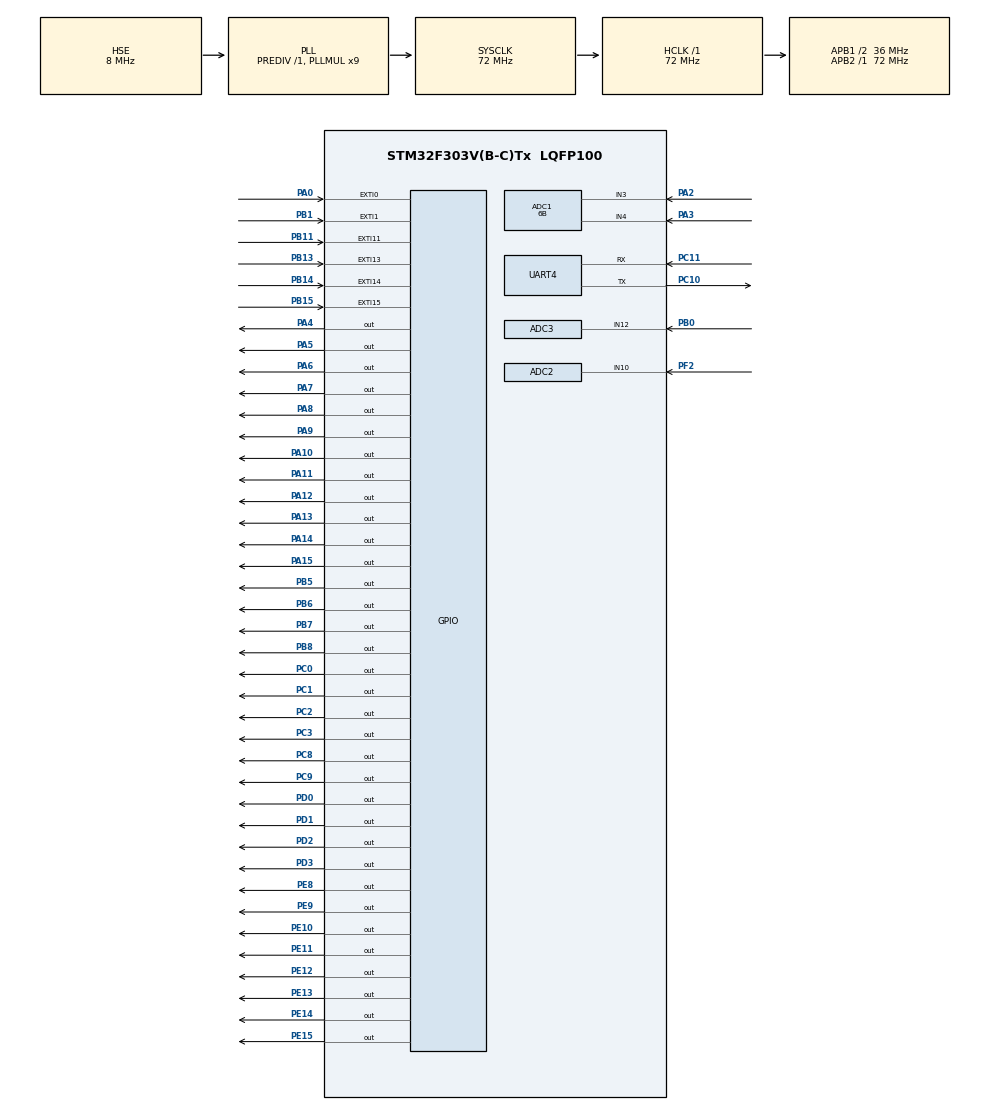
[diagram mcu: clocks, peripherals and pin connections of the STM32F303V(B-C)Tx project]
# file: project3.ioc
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ADC1.Channel-3\#ChannelRegularConversion=ADC_CHANNEL_4
ADC1.ClockPrescaler=ADC_CLOCK_ASYNC_DIV1
ADC1.ContinuousConvMode=DISABLE
ADC1.DMAContinuousRequests=DISABLE
ADC1.DataAlign=ADC_DATAALIGN_RIGHT
ADC1.DiscontinuousConvMode=DISABLE
ADC1.EOCSelection=ADC_EOC_SINGLE_CONV
ADC1.EnableAnalogWatchDog1=false
ADC1.EnableAnalogWatchDog2=false
ADC1.EnableAnalogWatchDog3=false
ADC1.EnableInjectedConversion=ENABLE
ADC1.EnableRegularConversion=ENABLE
ADC1.ExternalTrigConv=ADC_SOFTWARE_START
ADC1.ExternalTrigConvEdge=ADC_EXTERNALTRIGCONVEDGE_NONE
ADC1.InjNumberOfConversion=0
ADC1.LowPowerAutoWait=DISABLE
ADC1.NbrOfConversion=1
ADC1.NbrOfConversionFlag=1
ADC1.Offset-3\#ChannelRegularConversion=0
ADC1.OffsetNumber-3\#ChannelRegularConversion=ADC_OFFSET_NONE
ADC1.Overrun=ADC_OVR_DATA_OVERWRITTEN
ADC1.Rank-3\#ChannelRegularConversion=1
ADC1.Resolution=ADC_RESOLUTION_6B
ADC1.SamplingTime-3\#ChannelRegularConversion=ADC_SAMPLETIME_601CYCLES_5
ADC1.ScanConvMode=ADC_SCAN_DISABLE
ADC1.master=1
ADC2.Channel-0\#ChannelRegularConversion=ADC_CHANNEL_10
ADC2.ClockPrescaler=ADC_CLOCK_ASYNC_DIV1
ADC2.ContinuousConvMode=DISABLE
ADC2.DMAContinuousRequests=DISABLE
ADC2.DataAlign=ADC_DATAALIGN_RIGHT
ADC2.DiscontinuousConvMode=DISABLE
ADC2.EOCSelection=ADC_EOC_SINGLE_CONV
ADC2.EnableAnalogWatchDog1=false
ADC2.EnableAnalogWatchDog2=false
ADC2.EnableAnalogWatchDog3=false
ADC2.EnableInjectedConversion=ENABLE
ADC2.EnableRegularConversion=ENABLE
ADC2.ExternalTrigConv=ADC_SOFTWARE_START
ADC2.ExternalTrigConvEdge=ADC_EXTERNALTRIGCONVEDGE_NONE
ADC2.InjNumberOfConversion=0
ADC2.LowPowerAutoWait=DISABLE
ADC2.NbrOfConversion=1
ADC2.NbrOfConversionFlag=1
ADC2.Offset-0\#ChannelRegularConversion=0
ADC2.OffsetNumber-0\#ChannelRegularConversion=ADC_OFFSET_NONE
ADC2.Overrun=ADC_OVR_DATA_OVERWRITTEN
ADC2.Rank-0\#ChannelRegularConversion=1
ADC2.Resolution=ADC_RESOLUTION_12B
ADC2.SamplingTime-0\#ChannelRegularConversion=ADC_SAMPLETIME_601CYCLES_5
ADC2.ScanConvMode=ADC_SCAN_DISABLE
ADC3.Channel-0\#ChannelRegularConversion=ADC_CHANNEL_12
ADC3.ClockPrescaler=ADC_CLOCK_ASYNC_DIV1
ADC3.ContinuousConvMode=DISABLE
ADC3.DMAContinuousRequests=DISABLE
ADC3.DataAlign=ADC_DATAALIGN_RIGHT
ADC3.DiscontinuousConvMode=DISABLE
ADC3.EOCSelection=ADC_EOC_SINGLE_CONV
ADC3.EnableAnalogWatchDog1=false
ADC3.EnableAnalogWatchDog2=false
ADC3.EnableAnalogWatchDog3=false
ADC3.EnableInjectedConversion=ENABLE
ADC3.EnableRegularConversion=ENABLE
ADC3.ExternalTrigConv=ADC_SOFTWARE_START
ADC3.ExternalTrigConvEdge=ADC_EXTERNALTRIGCONVEDGE_NONE
ADC3.InjNumberOfConversion=0
ADC3.LowPowerAutoWait=DISABLE
ADC3.NbrOfConversion=1
ADC3.NbrOfConversionFlag=1
ADC3.Offset-0\#ChannelRegularConversion=0
ADC3.OffsetNumber-0\#ChannelRegularConversion=ADC_OFFSET_NONE
ADC3.Overrun=ADC_OVR_DATA_OVERWRITTEN
ADC3.Rank-0\#ChannelRegularConversion=1
ADC3.Resolution=ADC_RESOLUTION_12B
ADC3.SamplingTime-0\#ChannelRegularConversion=ADC_SAMPLETIME_601CYCLES_5
ADC3.ScanConvMode=ADC_SCAN_DISABLE
ADC3.master=1
Mcu.Family=STM32F3
Mcu.Name=STM32F303V(B-C)Tx
Mcu.Package=LQFP100
NVIC.ADC1_2_IRQn=true\:6\:0\:true\:false\:true\:true
NVIC.ADC3_IRQn=true\:4\:0\:true\:false\:true\:true
NVIC.EXTI0_IRQn=true\:0\:0\:false\:false\:true\:true
NVIC.EXTI15_10_IRQn=true\:2\:0\:true\:false\:true\:true
NVIC.EXTI1_IRQn=true\:0\:0\:false\:false\:true\:true
NVIC.PriorityGroup=NVIC_PRIORITYGROUP_3
NVIC.TIM1_UP_TIM16_IRQn=true\:4\:0\:true\:false\:true\:true
NVIC.TIM6_DAC_IRQn=true\:3\:0\:true\:false\:true\:true
NVIC.TIM7_IRQn=true\:1\:0\:true\:false\:true\:true
NVIC.UART4_IRQn=true\:0\:0\:false\:false\:true\:true
PA0.GPIO_ModeDefaultEXTI=GPIO_MODE_IT_RISING
PA0.GPIO_PuPd=GPIO_PULLDOWN
PA0.Signal=GPXTI0
PA10.Signal=GPIO_Output
PA11.Signal=GPIO_Output
PA12.Signal=GPIO_Output
PA13.Signal=GPIO_Output
PA14.Signal=GPIO_Output
PA15.Signal=GPIO_Output
PA2.Mode=IN3-Single-Ended
PA2.Signal=ADC1_IN3
PA3.Mode=IN4-Single-Ended
PA3.Signal=ADC1_IN4
PA4.Signal=GPIO_Output
PA5.Signal=GPIO_Output
PA6.Signal=GPIO_Output
PA7.Signal=GPIO_Output
PA8.Signal=GPIO_Output
PA9.Signal=GPIO_Output
PB0.Mode=IN12-Single-Ended
PB0.Signal=ADC3_IN12
PB1.GPIO_PuPd=GPIO_PULLDOWN
PB1.Signal=GPXTI1
PB11.GPIO_PuPd=GPIO_PULLDOWN
PB11.Signal=GPXTI11
PB13.GPIO_PuPd=GPIO_PULLDOWN
PB13.Signal=GPXTI13
PB14.GPIO_PuPd=GPIO_PULLDOWN
PB14.Signal=GPXTI14
PB15.GPIO_PuPd=GPIO_PULLDOWN
PB15.Signal=GPXTI15
PB5.Signal=GPIO_Output
PB6.Signal=GPIO_Output
PB7.Signal=GPIO_Output
PB8.Signal=GPIO_Output
PC0.Signal=GPIO_Output
PC1.Signal=GPIO_Output
PC10.Mode=Asynchronous
PC10.Signal=UART4_TX
PC11.Mode=Asynchronous
PC11.Signal=UART4_RX
PC2.Signal=GPIO_Output
PC3.Signal=GPIO_Output
PC8.Signal=GPIO_Output
PC9.Signal=GPIO_Output
PD0.Signal=GPIO_Output
PD1.Signal=GPIO_Output
PD12.Signal=TSC_G8_IO1
PD2.Signal=GPIO_Output
PD3.Signal=GPIO_Output
PE10.Signal=GPIO_Output
PE11.Signal=GPIO_Output
PE12.Signal=GPIO_Output
PE13.Signal=GPIO_Output
PE14.Signal=GPIO_Output
PE15.Signal=GPIO_Output
PE8.Signal=GPIO_Output
PE9.Signal=GPIO_Output
PF0-OSC_IN.Mode=HSE-External-Oscillator
PF0-OSC_IN.Signal=RCC_OSC_IN
PF1-OSC_OUT.Mode=HSE-External-Oscillator
PF1-OSC_OUT.Signal=RCC_OSC_OUT
PF2.Signal=ADCx_IN10
ProjectManager.HeapSize=0x200
ProjectManager.StackSize=0x400
ProjectManager.TargetToolchain=MDK-ARM V5
RCC.AHBFreq_Value=72000000
RCC.APB1CLKDivider=RCC_HCLK_DIV2
RCC.APB1Freq_Value=36000000
RCC.APB1TimFreq_Value=72000000
RCC.APB2Freq_Value=72000000
RCC.APB2TimFreq_Value=72000000
RCC.CortexFreq_Value=72000000
RCC.HCLKFreq_Value=72000000
RCC.HSE_VALUE=8000000
RCC.HSI_VALUE=8000000
RCC.LSE_VALUE=32768
RCC.PLLMUL=RCC_PLL_MUL9
RCC.PLLSourceVirtual=RCC_PLLSOURCE_HSE
RCC.SYSCLKFreq_VALUE=72000000
RCC.SYSCLKSourceVirtual=RCC_SYSCLKSOURCE_PLLCLK
RCC.USBFreq_Value=72000000
SH.ADCx_IN10.0=ADC2_IN10,IN10-Single-Ended
TIM16.Period=7
TIM16.Prescaler=36999
TIM6.Period=1999
TIM6.Prescaler=35999
TIM7.Period=719
TIM7.Prescaler=12499
VP_CRC_VS_CRC.Mode=CRC_Activate
VP_RTC_VS_RTC_Activate.Mode=RTC_Enabled
VP_RTC_VS_RTC_Calendar.Mode=RTC_Calendar
VP_TIM16_VS_ClockSourceINT.Mode=Enable_Timer
VP_TIM6_VS_ClockSourceINT.Mode=Enable_Timer
VP_TIM7_VS_ClockSourceINT.Mode=Enable_Timer
board=STM32F3DISCOVERY

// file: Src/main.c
/**
  ******************************************************************************
  * @file           : main.c
  * @brief          : Main program body
  ******************************************************************************
  ** This notice applies to any and all portions of this file
  * that are not between comment pairs USER CODE BEGIN and
  * USER CODE END. Other portions of this file, whether
  * inserted by the user or by software development tools
  * are owned by their respective copyright owners.
  *
  * COPYRIGHT(c) 2019 STMicroelectronics
  *
  * Redistribution and use in source and binary forms, with or without modification,
  * are permitted provided that the following conditions are met:
  *   1. Redistributions of source code must retain the above copyright notice,
  *      this list of conditions and the following disclaimer.
  *   2. Redistributions in binary form must reproduce the above copyright notice,
  *      this list of conditions and the following disclaimer in the documentation
  *      and/or other materials provided with the distribution.
  *   3. Neither the name of STMicroelectronics nor the names of its contributors
  *      may be used to endorse or promote products derived from this software
  *      without specific prior written permission.
  *
  * THIS SOFTWARE IS PROVIDED BY THE COPYRIGHT HOLDERS AND CONTRIBUTORS "AS IS"
  * AND ANY EXPRESS OR IMPLIED WARRANTIES, INCLUDING, BUT NOT LIMITED TO, THE
  * IMPLIED WARRANTIES OF MERCHANTABILITY AND FITNESS FOR A PARTICULAR PURPOSE ARE
  * DISCLAIMED. IN NO EVENT SHALL THE COPYRIGHT HOLDER OR CONTRIBUTORS BE LIABLE
  * FOR ANY DIRECT, INDIRECT, INCIDENTAL, SPECIAL, EXEMPLARY, OR CONSEQUENTIAL
  * DAMAGES (INCLUDING, BUT NOT LIMITED TO, PROCUREMENT OF SUBSTITUTE GOODS OR
  * SERVICES; LOSS OF USE, DATA, OR PROFITS; OR BUSINESS INTERRUPTION) HOWEVER
  * CAUSED AND ON ANY THEORY OF LIABILITY, WHETHER IN CONTRACT, STRICT LIABILITY,
  * OR TORT (INCLUDING NEGLIGENCE OR OTHERWISE) ARISING IN ANY WAY OUT OF THE USE
  * OF THIS SOFTWARE, EVEN IF ADVISED OF THE POSSIBILITY OF SUCH DAMAGE.
  *
  ******************************************************************************
  */
#include "main.h"
#include "stm32f3xx_hal.h"

/* USER CODE BEGIN Includes */
#include "main.h"
#include "stm32f3xx_hal.h"
#include "LiquidCrystal.h"
#include "stdlib.h"

/* USER CODE END Includes */

ADC_HandleTypeDef hadc1;
ADC_HandleTypeDef hadc2;
ADC_HandleTypeDef hadc3;

CRC_HandleTypeDef hcrc;

RTC_HandleTypeDef hrtc;

TIM_HandleTypeDef htim6;
TIM_HandleTypeDef htim7;
TIM_HandleTypeDef htim16;

UART_HandleTypeDef huart4;

/* USER CODE BEGIN PV */
/* Private variables ---------------------------------------------------------*/

/* USER CODE END PV */

void SystemClock_Config(void);
static void MX_GPIO_Init(void);
static void MX_TIM6_Init(void);
static void MX_TIM7_Init(void);
static void MX_ADC1_Init(void);
static void MX_TIM16_Init(void);
static void MX_CRC_Init(void);
static void MX_UART4_Init(void);
static void MX_RTC_Init(void);
static void MX_ADC3_Init(void);
static void MX_ADC2_Init(void);

/* USER CODE BEGIN PFP */
/* Private function prototypes -----------------------------------------------*/

/* USER CODE END PFP */

/* USER CODE BEGIN 0 */

void Menu(){
	setCursor(0,0);
	print("1. NEW GAME");
	setCursor(0,1);
	print("2. LOAD GAME");
	setCursor(0,2);
	print("3. ABOUT");
}
/* USER CODE END 0 */

int main(void){

  /* MCU Configuration----------------------------------------------------------*/

  /* Reset of all peripherals, Initializes the Flash interface and the Systick. */
  HAL_Init();

  /* Configure the system clock */
  SystemClock_Config();

  /* Initialize all configured peripherals */
  MX_GPIO_Init();
  MX_TIM6_Init();
  MX_TIM7_Init();
  MX_ADC1_Init();
  MX_TIM16_Init();
  MX_CRC_Init();
  MX_UART4_Init();
  MX_RTC_Init();
  MX_ADC3_Init();
  MX_ADC2_Init();
  /* USER CODE BEGIN 2 */
	LiquidCrystal(GPIOD, GPIO_PIN_8, GPIO_PIN_9, GPIO_PIN_10, GPIO_PIN_11, GPIO_PIN_12, GPIO_PIN_13, GPIO_PIN_14);

	begin(20,4);
	HAL_GPIO_WritePin(GPIOB,GPIO_PIN_5,GPIO_PIN_SET);
	HAL_GPIO_WritePin(GPIOB,GPIO_PIN_6,GPIO_PIN_SET);
	HAL_GPIO_WritePin(GPIOB,GPIO_PIN_7,GPIO_PIN_SET);
	HAL_GPIO_WritePin(GPIOB,GPIO_PIN_8,GPIO_PIN_SET);

	Menu();

  /* USER CODE END 2 */

  /* Infinite loop */
  /* USER CODE BEGIN WHILE */
  while (1){

//		GameController();
  /* USER CODE END WHILE */

  }

}

void SystemClock_Config(void)
{

  RCC_OscInitTypeDef RCC_OscInitStruct;
  RCC_ClkInitTypeDef RCC_ClkInitStruct;
  RCC_PeriphCLKInitTypeDef PeriphClkInit;

    /**Initializes the CPU, AHB and APB busses clocks
    */
  RCC_OscInitStruct.OscillatorType = RCC_OSCILLATORTYPE_LSI|RCC_OSCILLATORTYPE_HSE;
  RCC_OscInitStruct.HSEState = RCC_HSE_ON;
  RCC_OscInitStruct.HSEPredivValue = RCC_HSE_PREDIV_DIV1;
  RCC_OscInitStruct.HSIState = RCC_HSI_ON;
  RCC_OscInitStruct.LSIState = RCC_LSI_ON;
  RCC_OscInitStruct.PLL.PLLState = RCC_PLL_ON;
  RCC_OscInitStruct.PLL.PLLSource = RCC_PLLSOURCE_HSE;
  RCC_OscInitStruct.PLL.PLLMUL = RCC_PLL_MUL9;
  if (HAL_RCC_OscConfig(&RCC_OscInitStruct) != HAL_OK)
  {
    _Error_Handler(__FILE__, __LINE__);
  }

    /**Initializes the CPU, AHB and APB busses clocks
    */
  RCC_ClkInitStruct.ClockType = RCC_CLOCKTYPE_HCLK|RCC_CLOCKTYPE_SYSCLK
                              |RCC_CLOCKTYPE_PCLK1|RCC_CLOCKTYPE_PCLK2;
  RCC_ClkInitStruct.SYSCLKSource = RCC_SYSCLKSOURCE_PLLCLK;
  RCC_ClkInitStruct.AHBCLKDivider = RCC_SYSCLK_DIV1;
  RCC_ClkInitStruct.APB1CLKDivider = RCC_HCLK_DIV2;
  RCC_ClkInitStruct.APB2CLKDivider = RCC_HCLK_DIV1;

  if (HAL_RCC_ClockConfig(&RCC_ClkInitStruct, FLASH_LATENCY_2) != HAL_OK)
  {
    _Error_Handler(__FILE__, __LINE__);
  }

  PeriphClkInit.PeriphClockSelection = RCC_PERIPHCLK_UART4|RCC_PERIPHCLK_RTC
                              |RCC_PERIPHCLK_ADC12|RCC_PERIPHCLK_ADC34;
  PeriphClkInit.Uart4ClockSelection = RCC_UART4CLKSOURCE_PCLK1;
  PeriphClkInit.Adc12ClockSelection = RCC_ADC12PLLCLK_DIV1;
  PeriphClkInit.Adc34ClockSelection = RCC_ADC34PLLCLK_DIV1;
  PeriphClkInit.RTCClockSelection = RCC_RTCCLKSOURCE_LSI;
  if (HAL_RCCEx_PeriphCLKConfig(&PeriphClkInit) != HAL_OK)
  {
    _Error_Handler(__FILE__, __LINE__);
  }

    /**Configure the Systick interrupt time
    */
  HAL_SYSTICK_Config(HAL_RCC_GetHCLKFreq()/1000);

    /**Configure the Systick
    */
  HAL_SYSTICK_CLKSourceConfig(SYSTICK_CLKSOURCE_HCLK);

  /* SysTick_IRQn interrupt configuration */
  HAL_NVIC_SetPriority(SysTick_IRQn, 0, 0);
}

/* ADC1 init function */
static void MX_ADC1_Init(void)
{

  ADC_MultiModeTypeDef multimode;
  ADC_ChannelConfTypeDef sConfig;

    /**Common config
    */
  hadc1.Instance = ADC1;
  hadc1.Init.ClockPrescaler = ADC_CLOCK_ASYNC_DIV1;
  hadc1.Init.Resolution = ADC_RESOLUTION_6B;
  hadc1.Init.ScanConvMode = ADC_SCAN_DISABLE;
  hadc1.Init.ContinuousConvMode = DISABLE;
  hadc1.Init.DiscontinuousConvMode = DISABLE;
  hadc1.Init.ExternalTrigConvEdge = ADC_EXTERNALTRIGCONVEDGE_NONE;
  hadc1.Init.ExternalTrigConv = ADC_SOFTWARE_START;
  hadc1.Init.DataAlign = ADC_DATAALIGN_RIGHT;
  hadc1.Init.NbrOfConversion = 1;
  hadc1.Init.DMAContinuousRequests = DISABLE;
  hadc1.Init.EOCSelection = ADC_EOC_SINGLE_CONV;
  hadc1.Init.LowPowerAutoWait = DISABLE;
  hadc1.Init.Overrun = ADC_OVR_DATA_OVERWRITTEN;
  if (HAL_ADC_Init(&hadc1) != HAL_OK)
  {
    _Error_Handler(__FILE__, __LINE__);
  }

    /**Configure the ADC multi-mode
    */
  multimode.Mode = ADC_MODE_INDEPENDENT;
  if (HAL_ADCEx_MultiModeConfigChannel(&hadc1, &multimode) != HAL_OK)
  {
    _Error_Handler(__FILE__, __LINE__);
  }

    /**Configure Regular Channel
    */
  sConfig.Channel = ADC_CHANNEL_4;
  sConfig.Rank = ADC_REGULAR_RANK_1;
  sConfig.SingleDiff = ADC_SINGLE_ENDED;
  sConfig.SamplingTime = ADC_SAMPLETIME_601CYCLES_5;
  sConfig.OffsetNumber = ADC_OFFSET_NONE;
  sConfig.Offset = 0;
  if (HAL_ADC_ConfigChannel(&hadc1, &sConfig) != HAL_OK)
  {
    _Error_Handler(__FILE__, __LINE__);
  }

}

/* ADC2 init function */
static void MX_ADC2_Init(void)
{

  ADC_ChannelConfTypeDef sConfig;

    /**Common config
    */
  hadc2.Instance = ADC2;
  hadc2.Init.ClockPrescaler = ADC_CLOCK_ASYNC_DIV1;
  hadc2.Init.Resolution = ADC_RESOLUTION_12B;
  hadc2.Init.ScanConvMode = ADC_SCAN_DISABLE;
  hadc2.Init.ContinuousConvMode = DISABLE;
  hadc2.Init.DiscontinuousConvMode = DISABLE;
  hadc2.Init.ExternalTrigConvEdge = ADC_EXTERNALTRIGCONVEDGE_NONE;
  hadc2.Init.ExternalTrigConv = ADC_SOFTWARE_START;
  hadc2.Init.DataAlign = ADC_DATAALIGN_RIGHT;
  hadc2.Init.NbrOfConversion = 1;
  hadc2.Init.DMAContinuousRequests = DISABLE;
  hadc2.Init.EOCSelection = ADC_EOC_SINGLE_CONV;
  hadc2.Init.LowPowerAutoWait = DISABLE;
  hadc2.Init.Overrun = ADC_OVR_DATA_OVERWRITTEN;
  if (HAL_ADC_Init(&hadc2) != HAL_OK)
  {
    _Error_Handler(__FILE__, __LINE__);
  }

    /**Configure Regular Channel
    */
  sConfig.Channel = ADC_CHANNEL_10;
  sConfig.Rank = ADC_REGULAR_RANK_1;
  sConfig.SingleDiff = ADC_SINGLE_ENDED;
  sConfig.SamplingTime = ADC_SAMPLETIME_601CYCLES_5;
  sConfig.OffsetNumber = ADC_OFFSET_NONE;
  sConfig.Offset = 0;
  if (HAL_ADC_ConfigChannel(&hadc2, &sConfig) != HAL_OK)
  {
    _Error_Handler(__FILE__, __LINE__);
  }

}

/* ADC3 init function */
static void MX_ADC3_Init(void)
{

  ADC_MultiModeTypeDef multimode;
  ADC_ChannelConfTypeDef sConfig;

    /**Common config
    */
  hadc3.Instance = ADC3;
  hadc3.Init.ClockPrescaler = ADC_CLOCK_ASYNC_DIV1;
  hadc3.Init.Resolution = ADC_RESOLUTION_12B;
  hadc3.Init.ScanConvMode = ADC_SCAN_DISABLE;
  hadc3.Init.ContinuousConvMode = DISABLE;
  hadc3.Init.DiscontinuousConvMode = DISABLE;
  hadc3.Init.ExternalTrigConvEdge = ADC_EXTERNALTRIGCONVEDGE_NONE;
  hadc3.Init.ExternalTrigConv = ADC_SOFTWARE_START;
  hadc3.Init.DataAlign = ADC_DATAALIGN_RIGHT;
  hadc3.Init.NbrOfConversion = 1;
  hadc3.Init.DMAContinuousRequests = DISABLE;
  hadc3.Init.EOCSelection = ADC_EOC_SINGLE_CONV;
  hadc3.Init.LowPowerAutoWait = DISABLE;
  hadc3.Init.Overrun = ADC_OVR_DATA_OVERWRITTEN;
  if (HAL_ADC_Init(&hadc3) != HAL_OK)
  {
    _Error_Handler(__FILE__, __LINE__);
  }

    /**Configure the ADC multi-mode
    */
  multimode.Mode = ADC_MODE_INDEPENDENT;
  if (HAL_ADCEx_MultiModeConfigChannel(&hadc3, &multimode) != HAL_OK)
  {
    _Error_Handler(__FILE__, __LINE__);
  }

    /**Configure Regular Channel
    */
  sConfig.Channel = ADC_CHANNEL_12;
  sConfig.Rank = ADC_REGULAR_RANK_1;
  sConfig.SingleDiff = ADC_SINGLE_ENDED;
  sConfig.SamplingTime = ADC_SAMPLETIME_601CYCLES_5;
  sConfig.OffsetNumber = ADC_OFFSET_NONE;
  sConfig.Offset = 0;
  if (HAL_ADC_ConfigChannel(&hadc3, &sConfig) != HAL_OK)
  {
    _Error_Handler(__FILE__, __LINE__);
  }

}

/* CRC init function */
static void MX_CRC_Init(void)
{

  hcrc.Instance = CRC;
  hcrc.Init.DefaultPolynomialUse = DEFAULT_POLYNOMIAL_ENABLE;
  hcrc.Init.DefaultInitValueUse = DEFAULT_INIT_VALUE_ENABLE;
  hcrc.Init.InputDataInversionMode = CRC_INPUTDATA_INVERSION_NONE;
  hcrc.Init.OutputDataInversionMode = CRC_OUTPUTDATA_INVERSION_DISABLE;
  hcrc.InputDataFormat = CRC_INPUTDATA_FORMAT_BYTES;
  if (HAL_CRC_Init(&hcrc) != HAL_OK)
  {
    _Error_Handler(__FILE__, __LINE__);
  }

}

/* RTC init function */
static void MX_RTC_Init(void){

  /* USER CODE BEGIN RTC_Init 0 */
    int i = 0;
	char str[20];
	char str2[20];
  /* USER CODE END RTC_Init 0 */

  RTC_TimeTypeDef sTime;
  RTC_DateTypeDef sDate;

  /* USER CODE BEGIN RTC_Init 1 */
    HAL_RTC_GetTime(&hrtc , &sTime,RTC_FORMAT_BCD);
	HAL_RTC_GetDate(&hrtc , &sDate,RTC_FORMAT_BCD);
		setCursor(0, 1);

		// print the number of seconds since reset:
		sprintf(str, "%d : %d : %d", sTime.Hours , sTime.Minutes , sTime.Seconds);
		print(str);
		setCursor(0, 2);
		sprintf(str2, " 20%d / %d / %d " , sDate.Year , sDate.Month , sDate.Date);
		print(str2);
  /* USER CODE END RTC_Init 1 */

    /**Initialize RTC Only
    */
  hrtc.Instance = RTC;
  hrtc.Init.HourFormat = RTC_HOURFORMAT_24;
  hrtc.Init.AsynchPrediv = 127;
  hrtc.Init.SynchPrediv = 255;
  hrtc.Init.OutPut = RTC_OUTPUT_DISABLE;
  hrtc.Init.OutPutPolarity = RTC_OUTPUT_POLARITY_HIGH;
  hrtc.Init.OutPutType = RTC_OUTPUT_TYPE_OPENDRAIN;
  if (HAL_RTC_Init(&hrtc) != HAL_OK)
  {
    _Error_Handler(__FILE__, __LINE__);
  }

    /**Initialize RTC and set the Time and Date
    */
  sTime.Hours = 0x0;
  sTime.Minutes = 0x0;
  sTime.Seconds = 0x0;
  sTime.DayLightSaving = RTC_DAYLIGHTSAVING_NONE;
  sTime.StoreOperation = RTC_STOREOPERATION_RESET;
  if (HAL_RTC_SetTime(&hrtc, &sTime, RTC_FORMAT_BCD) != HAL_OK)
  {
    _Error_Handler(__FILE__, __LINE__);
  }

  sDate.WeekDay = RTC_WEEKDAY_MONDAY;
  sDate.Month = RTC_MONTH_JANUARY;
  sDate.Date = 0x1;
  sDate.Year = 0x0;

  if (HAL_RTC_SetDate(&hrtc, &sDate, RTC_FORMAT_BCD) != HAL_OK)
  {
    _Error_Handler(__FILE__, __LINE__);
  }

}

/* TIM6 init function */
static void MX_TIM6_Init(void)
{

  TIM_MasterConfigTypeDef sMasterConfig;

  htim6.Instance = TIM6;
  htim6.Init.Prescaler = 35999;
  htim6.Init.CounterMode = TIM_COUNTERMODE_UP;
  htim6.Init.Period = 1999;
  htim6.Init.AutoReloadPreload = TIM_AUTORELOAD_PRELOAD_DISABLE;
  if (HAL_TIM_Base_Init(&htim6) != HAL_OK)
  {
    _Error_Handler(__FILE__, __LINE__);
  }

  sMasterConfig.MasterOutputTrigger = TIM_TRGO_RESET;
  sMasterConfig.MasterSlaveMode = TIM_MASTERSLAVEMODE_DISABLE;
  if (HAL_TIMEx_MasterConfigSynchronization(&htim6, &sMasterConfig) != HAL_OK)
  {
    _Error_Handler(__FILE__, __LINE__);
  }

}

/* TIM7 init function */
static void MX_TIM7_Init(void)
{

  TIM_MasterConfigTypeDef sMasterConfig;

  htim7.Instance = TIM7;
  htim7.Init.Prescaler = 12499;
  htim7.Init.CounterMode = TIM_COUNTERMODE_UP;
  htim7.Init.Period = 719;
  htim7.Init.AutoReloadPreload = TIM_AUTORELOAD_PRELOAD_DISABLE;
  if (HAL_TIM_Base_Init(&htim7) != HAL_OK)
  {
    _Error_Handler(__FILE__, __LINE__);
  }

  sMasterConfig.MasterOutputTrigger = TIM_TRGO_RESET;
  sMasterConfig.MasterSlaveMode = TIM_MASTERSLAVEMODE_DISABLE;
  if (HAL_TIMEx_MasterConfigSynchronization(&htim7, &sMasterConfig) != HAL_OK)
  {
    _Error_Handler(__FILE__, __LINE__);
  }

}

/* TIM16 init function */
static void MX_TIM16_Init(void)
{

  htim16.Instance = TIM16;
  htim16.Init.Prescaler = 36999;
  htim16.Init.CounterMode = TIM_COUNTERMODE_UP;
  htim16.Init.Period = 7;
  htim16.Init.ClockDivision = TIM_CLOCKDIVISION_DIV1;
  htim16.Init.RepetitionCounter = 0;
  htim16.Init.AutoReloadPreload = TIM_AUTORELOAD_PRELOAD_DISABLE;
  if (HAL_TIM_Base_Init(&htim16) != HAL_OK)
  {
    _Error_Handler(__FILE__, __LINE__);
  }

}

/* UART4 init function */
static void MX_UART4_Init(void)
{

  huart4.Instance = UART4;
  huart4.Init.BaudRate = 115200;
  huart4.Init.WordLength = UART_WORDLENGTH_8B;
  huart4.Init.StopBits = UART_STOPBITS_1;
  huart4.Init.Parity = UART_PARITY_NONE;
  huart4.Init.Mode = UART_MODE_TX_RX;
  huart4.Init.HwFlowCtl = UART_HWCONTROL_NONE;
  huart4.Init.OverSampling = UART_OVERSAMPLING_16;
  huart4.Init.OneBitSampling = UART_ONE_BIT_SAMPLE_DISABLE;
  huart4.AdvancedInit.AdvFeatureInit = UART_ADVFEATURE_NO_INIT;
  if (HAL_UART_Init(&huart4) != HAL_OK)
  {
    _Error_Handler(__FILE__, __LINE__);
  }

}

/** Configure pins as
        * Analog
        * Input
        * Output
        * EVENT_OUT
        * EXTI
     PD12   ------> TSC_G8_IO1
*/
static void MX_GPIO_Init(void)
{

  GPIO_InitTypeDef GPIO_InitStruct;

  /* GPIO Ports Clock Enable */
  __HAL_RCC_GPIOF_CLK_ENABLE();
  __HAL_RCC_GPIOC_CLK_ENABLE();
  __HAL_RCC_GPIOA_CLK_ENABLE();
  __HAL_RCC_GPIOB_CLK_ENABLE();
  __HAL_RCC_GPIOE_CLK_ENABLE();
  __HAL_RCC_GPIOD_CLK_ENABLE();

  /*Configure GPIO pin Output Level */
  HAL_GPIO_WritePin(GPIOC, GPIO_PIN_0|GPIO_PIN_1|GPIO_PIN_2|GPIO_PIN_3
                          |GPIO_PIN_8|GPIO_PIN_9, GPIO_PIN_RESET);

  /*Configure GPIO pin Output Level */
  HAL_GPIO_WritePin(GPIOA, GPIO_PIN_4|GPIO_PIN_5|GPIO_PIN_6|GPIO_PIN_7
                          |GPIO_PIN_8|GPIO_PIN_9|GPIO_PIN_10|GPIO_PIN_11
                          |GPIO_PIN_12|GPIO_PIN_13|GPIO_PIN_14|GPIO_PIN_15, GPIO_PIN_RESET);

  /*Configure GPIO pin Output Level */
  HAL_GPIO_WritePin(GPIOE, GPIO_PIN_8|GPIO_PIN_9|GPIO_PIN_10|GPIO_PIN_11
                          |GPIO_PIN_12|GPIO_PIN_13|GPIO_PIN_14|GPIO_PIN_15, GPIO_PIN_RESET);

  /*Configure GPIO pin Output Level */
  HAL_GPIO_WritePin(GPIOD, GPIO_PIN_0|GPIO_PIN_1|GPIO_PIN_2|GPIO_PIN_3, GPIO_PIN_RESET);

  /*Configure GPIO pin Output Level */
  HAL_GPIO_WritePin(GPIOB, GPIO_PIN_5|GPIO_PIN_6|GPIO_PIN_7|GPIO_PIN_8, GPIO_PIN_RESET);

  /*Configure GPIO pins : PC0 PC1 PC2 PC3
                           PC8 PC9 */
  GPIO_InitStruct.Pin = GPIO_PIN_0|GPIO_PIN_1|GPIO_PIN_2|GPIO_PIN_3
                          |GPIO_PIN_8|GPIO_PIN_9;
  GPIO_InitStruct.Mode = GPIO_MODE_OUTPUT_PP;
  GPIO_InitStruct.Pull = GPIO_NOPULL;
  GPIO_InitStruct.Speed = GPIO_SPEED_FREQ_LOW;
  HAL_GPIO_Init(GPIOC, &GPIO_InitStruct);

  /*Configure GPIO pin : PA0 */
  GPIO_InitStruct.Pin = GPIO_PIN_0;
  GPIO_InitStruct.Mode = GPIO_MODE_IT_RISING;
  GPIO_InitStruct.Pull = GPIO_PULLDOWN;
  HAL_GPIO_Init(GPIOA, &GPIO_InitStruct);

  /*Configure GPIO pins : PA4 PA5 PA6 PA7
                           PA8 PA9 PA10 PA11
                           PA12 PA13 PA14 PA15 */
  GPIO_InitStruct.Pin = GPIO_PIN_4|GPIO_PIN_5|GPIO_PIN_6|GPIO_PIN_7
                          |GPIO_PIN_8|GPIO_PIN_9|GPIO_PIN_10|GPIO_PIN_11
                          |GPIO_PIN_12|GPIO_PIN_13|GPIO_PIN_14|GPIO_PIN_15;
  GPIO_InitStruct.Mode = GPIO_MODE_OUTPUT_PP;
  GPIO_InitStruct.Pull = GPIO_NOPULL;
  GPIO_InitStruct.Speed = GPIO_SPEED_FREQ_LOW;
  HAL_GPIO_Init(GPIOA, &GPIO_InitStruct);

  /*Configure GPIO pins : PB1 PB11 PB13 PB14
                           PB15 */
  GPIO_InitStruct.Pin = GPIO_PIN_1|GPIO_PIN_11|GPIO_PIN_13|GPIO_PIN_14
                          |GPIO_PIN_15;
  GPIO_InitStruct.Mode = GPIO_MODE_IT_RISING;
  GPIO_InitStruct.Pull = GPIO_PULLDOWN;
  HAL_GPIO_Init(GPIOB, &GPIO_InitStruct);

  /*Configure GPIO pins : PE8 PE9 PE10 PE11
                           PE12 PE13 PE14 PE15 */
  GPIO_InitStruct.Pin = GPIO_PIN_8|GPIO_PIN_9|GPIO_PIN_10|GPIO_PIN_11
                          |GPIO_PIN_12|GPIO_PIN_13|GPIO_PIN_14|GPIO_PIN_15;
  GPIO_InitStruct.Mode = GPIO_MODE_OUTPUT_PP;
  GPIO_InitStruct.Pull = GPIO_NOPULL;
  GPIO_InitStruct.Speed = GPIO_SPEED_FREQ_LOW;
  HAL_GPIO_Init(GPIOE, &GPIO_InitStruct);

  /*Configure GPIO pin : PD12 */
  GPIO_InitStruct.Pin = GPIO_PIN_12;
  GPIO_InitStruct.Mode = GPIO_MODE_AF_PP;
  GPIO_InitStruct.Pull = GPIO_NOPULL;
  GPIO_InitStruct.Speed = GPIO_SPEED_FREQ_LOW;
  GPIO_InitStruct.Alternate = GPIO_AF3_TSC;
  HAL_GPIO_Init(GPIOD, &GPIO_InitStruct);

  /*Configure GPIO pins : PD0 PD1 PD2 PD3 */
  GPIO_InitStruct.Pin = GPIO_PIN_0|GPIO_PIN_1|GPIO_PIN_2|GPIO_PIN_3;
  GPIO_InitStruct.Mode = GPIO_MODE_OUTPUT_PP;
  GPIO_InitStruct.Pull = GPIO_NOPULL;
  GPIO_InitStruct.Speed = GPIO_SPEED_FREQ_LOW;
  HAL_GPIO_Init(GPIOD, &GPIO_InitStruct);

  /*Configure GPIO pins : PB5 PB6 PB7 PB8 */
  GPIO_InitStruct.Pin = GPIO_PIN_5|GPIO_PIN_6|GPIO_PIN_7|GPIO_PIN_8;
  GPIO_InitStruct.Mode = GPIO_MODE_OUTPUT_PP;
  GPIO_InitStruct.Pull = GPIO_NOPULL;
  GPIO_InitStruct.Speed = GPIO_SPEED_FREQ_LOW;
  HAL_GPIO_Init(GPIOB, &GPIO_InitStruct);

  /* EXTI interrupt init*/
  HAL_NVIC_SetPriority(EXTI0_IRQn, 0, 0);
  HAL_NVIC_EnableIRQ(EXTI0_IRQn);

  HAL_NVIC_SetPriority(EXTI1_IRQn, 0, 0);
  HAL_NVIC_EnableIRQ(EXTI1_IRQn);

  HAL_NVIC_SetPriority(EXTI15_10_IRQn, 2, 0);
  HAL_NVIC_EnableIRQ(EXTI15_10_IRQn);

}

void _Error_Handler(char *file, int line)
{
  while(1)
  {
  }
}

/************************ (C) COPYRIGHT STMicroelectronics *****END OF FILE****/
